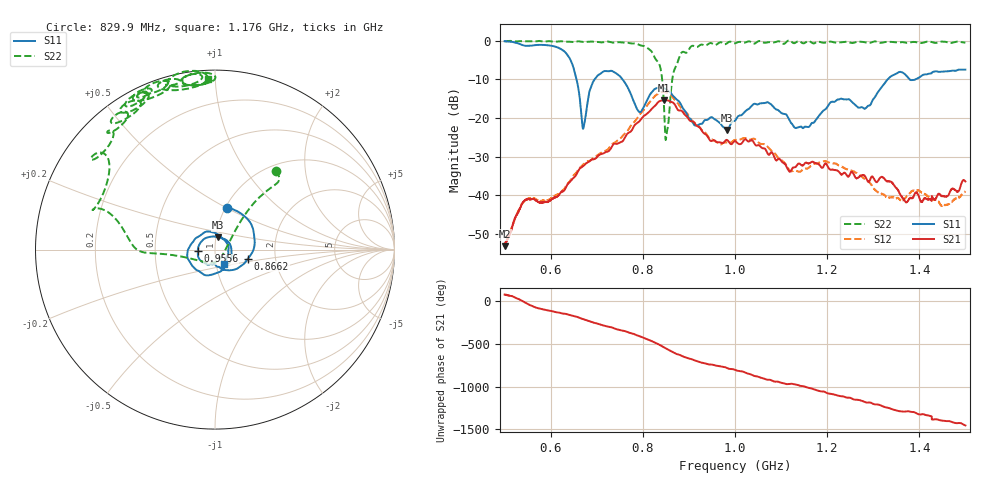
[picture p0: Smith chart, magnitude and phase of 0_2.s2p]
!Agilent Technologies,E8364B,US42250235,A.06.04.32
!Agilent E8364B: A.06.04.32
!Date: Thursday, October 01, 2020 13:12:38
!Correction: S11(Full 2 Port(1,2)) S21(Full 2 Port(1,2)) S12(Full 2 Port(1,2)) S22(Full 2 Port(1,2))
!S2P File: Measurements: S11, S21, S12, S22:
# Hz S  dB  R 50
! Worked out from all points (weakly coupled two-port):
!   2650 points, 500 MHz to 1.5 GHz, reference 50 ohm
!   highest |S21| = -15.39 dB at 845 MHz (marker M1); lowest = -53.2 dB at 500 MHz (marker M2)
!   lowest |S11| = -23.1 dB at 982.4 MHz (marker M3), VSWR 1.15, Z = 51.2 + j7 ohm
!   |S11| at or under -10 dB: 656.1 MHz to 695.5 MHz (39.43 MHz wide, 5.83 % of centre); 755.7 MHz to 1.331 GHz (575.7 MHz wide, 55.2 % of centre); 1.379 GHz to 1.392 GHz (13.1 MHz wide, 0.946 % of centre)
!   |S22| runs from -25.7 to 0.1 dB; largest |S21 - S12| = 0.051
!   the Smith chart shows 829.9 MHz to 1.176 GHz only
!   S11 on the Smith chart (normalised r, x): 829.9 MHz: 1.02, +0.50; 866.2 MHz: 1.44, -0.15; 955.6 MHz: 0.82, -0.02; 1.176 GHz: 1.09, -0.18
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5e8  -0.13 -175.5  -53.21 81.6  -52.82 82.2  -0.20 137.2
5.434126e8  -1.30 160.2  -41.39 -9.1  -41.60 -2.4  -0.16 135.1
6.132503e8  -1.66 106.9  -40.43 -127.0  -39.89 -117.6  -0.25 127.1
6.445829e8  -5.43 58.8  -36.19 -164.2  -35.82 -151.6  -0.31 125.1
6.668554e8  -19.55 42.4  -32.81 158.8  -32.51 169.4  -0.27 123.8
7.15553e8  -7.92 86.9  -29.13 76.9  -28.65 88.2  -0.38 111.7
7.506606e8  -9.25 25.4  -26.35 23.9  -25.33 34.6  -0.41 107.4
7.804832e8  -15.79 -57.8  -22.19 -21.7  -21.14 -13.2  -0.73 96.9
8.299358e8  -12.31 73.6  -16.38 -130.8  -13.97 -128.1  -5.11 52.3
8.337108e8  -12.17 63.2  -15.87 -141.9  -13.74 -139.1  -5.60 47.3
8.450359e8  -12.18 34.5  -15.39 -177.0  -13.26 -174.2  -15.10 45.4
8.525859e8  -12.83 15.5  -15.44 161.3  -13.47 163.3  -23.35 -84.1
8.661759e8  -14.39 -15.1  -16.09 122.2  -14.89 123.7  -8.45 -177.3
8.869385e8  -17.48 -59.3  -18.54 74.5  -17.91 78.5  -2.89 162.1
9.556436e8  -20.33 -174.6  -25.82 -29.0  -25.93 -25.0  -1.06 125.8
9.824462e8  -23.09 76.4  -25.69 -61.0  -26.34 -51.0  -0.69 113.8
1.000189e9  -20.69 -9.1  -26.03 -84.3  -25.70 -74.4  -0.68 117.6
1.166667e9  -21.32 -45.5  -31.37 56.7  -32.25 58.6  -0.52 100.6
1.175727e9  -20.46 -57.5  -31.74 40.5  -31.84 43.6  -0.45 92.3
1.333522e9  -9.73 -137.8  -36.43 -171.0  -40.63 -175.8  -0.30 84.2
1.372027e9  -9.08 -179.6  -41.79 148.6  -40.37 160.0  -0.57 80.6
1.5e9  -7.50 139.3  -36.46 -16.5  -38.97 16.2  -0.51 66.9
